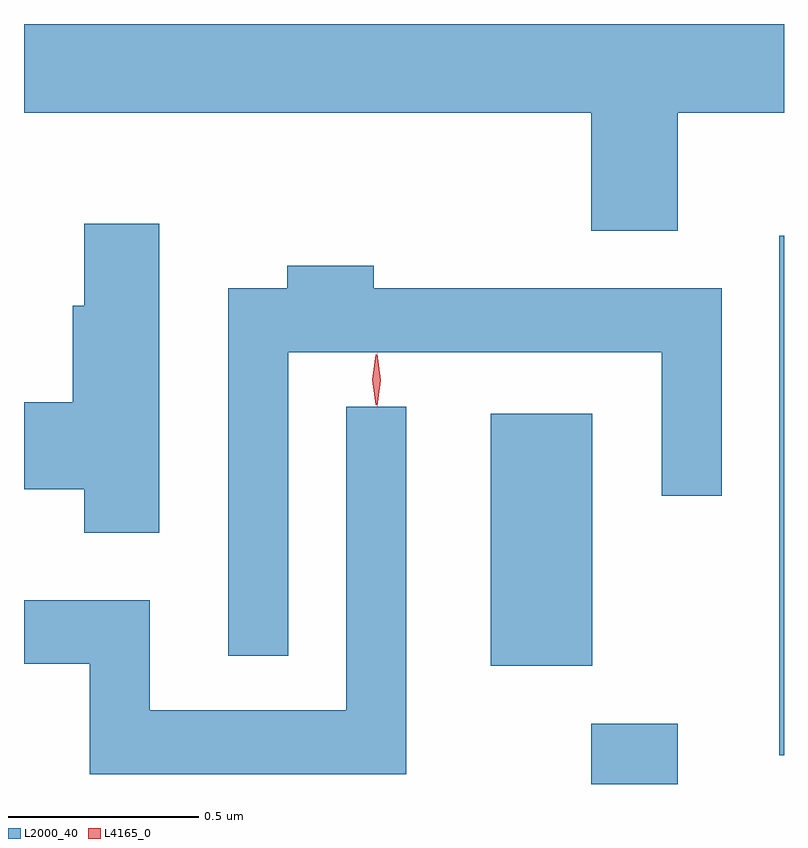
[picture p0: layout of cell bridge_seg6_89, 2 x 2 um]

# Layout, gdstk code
import gdstk
lib = gdstk.Library(unit=1e-6, precision=1e-09)
def R(c, l, rs):  # rectangles x0, y0, x1, y1
    for r in rs: c.add(gdstk.rectangle(r[:2], r[2:], *l))
def P(c, l, *ps):  # polygons
    for p in ps: c.add(gdstk.Polygon(p, *l))
L2000_40 = (2000, 40)
L4165_0 = (4165, 0)

bridge_seg6_89 = lib.new_cell('bridge_seg6_89')
R(bridge_seg6_89, L2000_40, [(1208.601,1617.09,1208.829,1617.249), (1209.096,1617.166,1209.108,1618.533), (1208.336,1617.401,1208.604,1618.064)])
P(bridge_seg6_89, L2000_40, [(1208.829,1618.856),(1209.108,1618.856),(1209.108,1619.09),(1207.108,1619.09),(1207.108,1618.856),(1208.601,1618.856),(1208.601,1618.546),(1208.829,1618.546)],
  [(1207.464,1618.564),(1207.266,1618.564),(1207.266,1618.349),(1207.236,1618.349),(1207.236,1618.094),(1207.108,1618.094),(1207.108,1617.866),(1207.266,1617.866),(1207.266,1617.751),(1207.464,1617.751)],
  [(1207.804,1618.226),(1208.786,1618.226),(1208.786,1617.848),(1208.944,1617.848),(1208.944,1618.394),(1208.029,1618.394),(1208.029,1618.454),(1207.801,1618.454),(1207.801,1618.394),(1207.646,1618.394),(1207.646,1617.428),(1207.804,1617.428)],
  [(1208.114,1618.083),(1207.956,1618.083),(1207.956,1617.284),(1207.439,1617.284),(1207.439,1617.574),(1207.108,1617.574),(1207.108,1617.406),(1207.281,1617.406),(1207.281,1617.116),(1208.114,1617.116)])
P(bridge_seg6_89, L4165_0, [(1208.037,1618.083),(1208.037,1618.084),(1208.027,1618.153),(1208.037,1618.222),(1208.037,1618.223),(1208.038,1618.222),(1208.047,1618.153),(1208.038,1618.084)],
  [(1208.035,1618.087),(1208.034,1618.088),(1208.025,1618.154),(1208.034,1618.22),(1208.035,1618.221),(1208.035,1618.22),(1208.045,1618.154),(1208.035,1618.088)])

lib.write_gds('bridge_seg6_89.gds')
